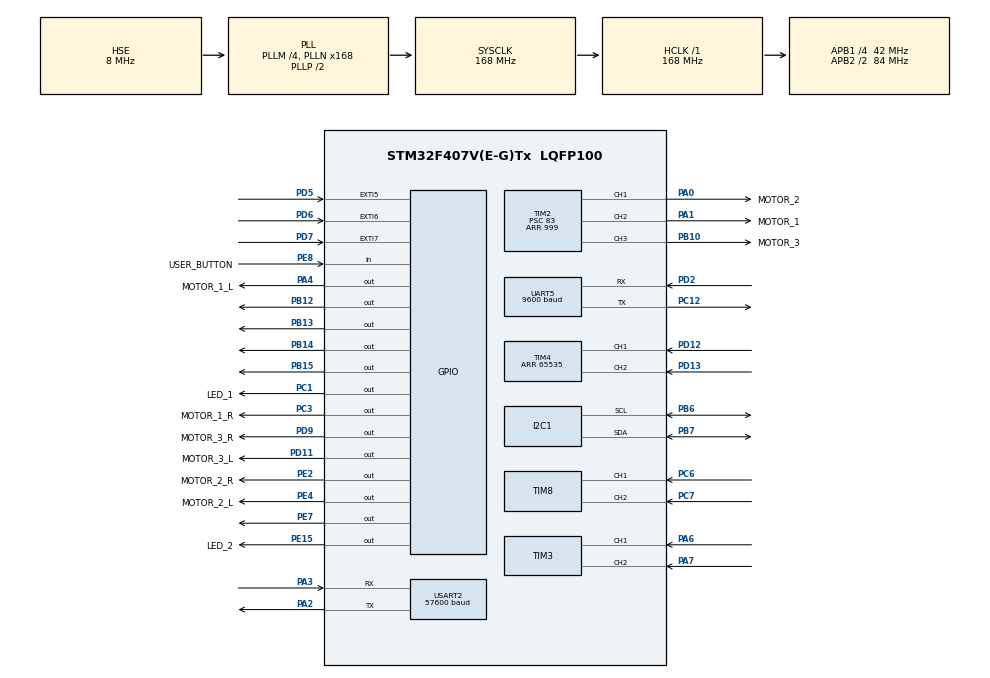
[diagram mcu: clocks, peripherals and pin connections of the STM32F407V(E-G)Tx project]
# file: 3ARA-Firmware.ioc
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Mcu.Family=STM32F4
PH0-OSC_IN.Signal=RCC_OSC_IN
RCC.CortexFreq_Value=168000000
PC12.Signal=UART5_TX
TIM2.Channel-PWM\ Generation2\ CH2=TIM_CHANNEL_2
PB13.Signal=GPIO_Output
PB15.Signal=GPIO_Output
RCC.SYSCLKSource=RCC_SYSCLKSOURCE_PLLCLK
ProjectManager.StackSize=0x400
PD13.Signal=S_TIM4_CH2
PD11.GPIO_Label=MOTOR_3_L
RCC.HCLKFreq_Value=168000000
RCC.APB2TimFreq_Value=168000000
PB6.Signal=I2C1_SCL
PC7.Signal=S_TIM8_CH2
PB6.Mode=I2C
PC3.Signal=GPIO_Output
RCC.AHBFreq_Value=168000000
PH0-OSC_IN.Mode=HSE-External-Oscillator
RCC.HSE_VALUE=8000000
PA14.Mode=Serial_Wire
VP_SYS_VS_tim1.Mode=TIM1
PE4.GPIO_Label=MOTOR_2_L
SH.S_TIM4_CH2.0=TIM4_CH2,Encoder_Interface
PE2.Signal=GPIO_Output
PB7.Signal=I2C1_SDA
TIM2.Channel-PWM\ Generation1\ CH1=TIM_CHANNEL_1
SH.S_TIM3_CH1.0=TIM3_CH1,Encoder_Interface
TIM4.Period=65535
VP_FREERTOS_VS_CMSIS_V1.Mode=CMSIS_V1
PE4.Signal=GPIO_Output
PH1-OSC_OUT.Mode=HSE-External-Oscillator
Mcu.Package=LQFP100
TIM2.Prescaler=83
PA6.Signal=S_TIM3_CH1
NVIC.TimeBase=TIM1_UP_TIM10_IRQn
PD6.GPIO_ModeDefaultEXTI=GPIO_MODE_IT_FALLING
USART2.VirtualMode=VM_ASYNC
PD12.Signal=S_TIM4_CH1
NVIC.TimeBaseIP=TIM1
TIM4.IC1Filter=0
RCC.APB2CLKDivider=RCC_HCLK_DIV2
SH.S_TIM4_CH1.0=TIM4_CH1,Encoder_Interface
RCC.APB1TimFreq_Value=84000000
UART5.BaudRate=9600
PE7.Signal=GPIO_Output
PD6.Signal=GPXTI6
PA4.GPIO_Label=MOTOR_1_L
PE2.GPIO_Label=MOTOR_2_R
PA3.Signal=USART2_RX
RCC.PLLSourceVirtual=RCC_PLLSOURCE_HSE
FREERTOS.Tasks01=defaultTask,0,256,StartDefaultTask,Default,NULL,Dynamic,NULL,NULL;taskPID1,-3,512,startPID1,Default,NULL,Dynamic,NULL,NULL;taskPID2,-3,512,startPID2,Default,NULL,Dynamic,NULL,NULL;taskPID3,0,512,startPID3,Default,NULL,Dynamic,NULL,NULL;ROSComms,0,1024,startROSComms,Default,NULL,Dynamic,NULL,NULL
PD9.GPIO_Label=MOTOR_3_R
PC6.Signal=S_TIM8_CH1
PD7.Signal=GPXTI7
PD9.Signal=GPIO_Output
PD5.Signal=GPXTI5
TIM4.IC2Filter=0
UART5.VirtualMode=Asynchronous
RCC.APB1CLKDivider=RCC_HCLK_DIV4
NVIC.USART2_IRQn=true\:5\:0\:false\:false\:true\:false\:true\:true
USART2.BaudRate=57600
SH.S_TIM8_CH2.0=TIM8_CH2,Encoder_Interface
PA0-WKUP.GPIO_Label=MOTOR_2
PA0-WKUP.Signal=S_TIM2_CH1_ETR
PA3.Mode=Asynchronous
PA13.Signal=SYS_JTMS-SWDIO
SH.S_TIM2_CH2.0=TIM2_CH2,PWM Generation2 CH2
PE15.GPIO_Label=LED_2
ProjectManager.TargetToolchain=STM32CubeIDE
PB10.GPIO_Label=MOTOR_3
PE8.GPIO_Label=USER_BUTTON
RCC.LSE_VALUE=32768
PA1.Signal=S_TIM2_CH2
PB10.Signal=S_TIM2_CH3
PB14.Signal=GPIO_Output
PD2.Mode=Asynchronous
SH.S_TIM3_CH2.0=TIM3_CH2,Encoder_Interface
PC12.Mode=Asynchronous
SH.S_TIM8_CH1.0=TIM8_CH1,Encoder_Interface
board=custom
RCC.VCOOutputFreq_Value=336000000
RCC.APB2Freq_Value=84000000
PE15.Signal=GPIO_Output
SH.S_TIM2_CH3.0=TIM2_CH3,PWM Generation3 CH3
PE8.Signal=GPIO_Input
PC1.GPIO_Label=LED_1
PA1.GPIO_Label=MOTOR_1
TIM2.Channel-PWM\ Generation3\ CH3=TIM_CHANNEL_3
PH1-OSC_OUT.Signal=RCC_OSC_OUT
TIM2.Period=999
PA13.Mode=Serial_Wire
PD7.GPIO_ModeDefaultEXTI=GPIO_MODE_IT_FALLING
Mcu.Name=STM32F407V(E-G)Tx
PA2.Signal=USART2_TX
RCC.48MHZClocksFreq_Value=84000000
PA4.Signal=GPIO_Output
RCC.SYSCLKFreq_VALUE=168000000
PD11.Signal=GPIO_Output
PB7.Mode=I2C
SH.S_TIM2_CH1_ETR.0=TIM2_CH1,PWM Generation1 CH1
NVIC.EXTI9_5_IRQn=true\:5\:0\:false\:false\:true\:true\:true\:true
PA14.Signal=SYS_JTCK-SWCLK
ProjectManager.HeapSize=0x200
NVIC.TIM1_UP_TIM10_IRQn=true\:0\:0\:false\:false\:true\:false\:false\:true
RCC.HSI_VALUE=16000000
FREERTOS.Mutexes01=mutex,Dynamic,NULL
NVIC.PriorityGroup=NVIC_PRIORITYGROUP_4
RCC.PLLM=4
RCC.PLLN=168
PA2.Mode=Asynchronous
PD5.GPIO_ModeDefaultEXTI=GPIO_MODE_IT_FALLING
PC3.GPIO_Label=MOTOR_1_R
PD2.Signal=UART5_RX
RCC.APB1Freq_Value=42000000
PC1.Signal=GPIO_Output
PB12.Signal=GPIO_Output
TIM8.CounterMode=TIM_COUNTERMODE_UP
PA7.Signal=S_TIM3_CH2

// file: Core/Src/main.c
/* USER CODE BEGIN Header */
/**
  ******************************************************************************
  * @file           : main.c
  * @brief          : Main program body
  ******************************************************************************
  * @attention
  *
  * <h2><center>&copy; Copyright (c) 2021 STMicroelectronics.
  * All rights reserved.</center></h2>
  *
  * This software component is licensed by ST under BSD 3-Clause license,
  * the "License"; You may not use this file except in compliance with the
  * License. You may obtain a copy of the License at:
  *                        opensource.org/licenses/BSD-3-Clause
  *
  ******************************************************************************
  */
/* USER CODE END Header */
#include "main.h"
#include "cmsis_os.h"
#include "i2c.h"
#include "tim.h"
#include "usart.h"
#include "gpio.h"

void SystemClock_Config(void);
void MX_FREERTOS_Init(void);

int main(void)
{

  /* MCU Configuration--------------------------------------------------------*/

  /* Reset of all peripherals, Initializes the Flash interface and the Systick. */
  HAL_Init();

  /* Configure the system clock */
  SystemClock_Config();

  /* Initialize all configured peripherals */
  MX_GPIO_Init();
  MX_USART2_UART_Init();
  MX_TIM4_Init();
  MX_TIM2_Init();
  MX_TIM3_Init();
  MX_TIM8_Init();
  MX_UART5_Init();
  MX_I2C1_Init();

  /* Call init function for freertos objects (in freertos.c) */
  MX_FREERTOS_Init();
  /* Start scheduler */
  osKernelStart();

  /* We should never get here as control is now taken by the scheduler */
  /* Infinite loop */
  while (1)
  {

  }
}

void SystemClock_Config(void)
{
  RCC_OscInitTypeDef RCC_OscInitStruct = {0};
  RCC_ClkInitTypeDef RCC_ClkInitStruct = {0};

  /** Configure the main internal regulator output voltage
  */
  __HAL_RCC_PWR_CLK_ENABLE();
  __HAL_PWR_VOLTAGESCALING_CONFIG(PWR_REGULATOR_VOLTAGE_SCALE1);
  /** Initializes the RCC Oscillators according to the specified parameters
  * in the RCC_OscInitTypeDef structure.
  */
  RCC_OscInitStruct.OscillatorType = RCC_OSCILLATORTYPE_HSE;
  RCC_OscInitStruct.HSEState = RCC_HSE_ON;
  RCC_OscInitStruct.PLL.PLLState = RCC_PLL_ON;
  RCC_OscInitStruct.PLL.PLLSource = RCC_PLLSOURCE_HSE;
  RCC_OscInitStruct.PLL.PLLM = 4;
  RCC_OscInitStruct.PLL.PLLN = 168;
  RCC_OscInitStruct.PLL.PLLP = RCC_PLLP_DIV2;
  RCC_OscInitStruct.PLL.PLLQ = 4;
  if (HAL_RCC_OscConfig(&RCC_OscInitStruct) != HAL_OK)
  {
    Error_Handler();
  }
  /** Initializes the CPU, AHB and APB buses clocks
  */
  RCC_ClkInitStruct.ClockType = RCC_CLOCKTYPE_HCLK|RCC_CLOCKTYPE_SYSCLK
                              |RCC_CLOCKTYPE_PCLK1|RCC_CLOCKTYPE_PCLK2;
  RCC_ClkInitStruct.SYSCLKSource = RCC_SYSCLKSOURCE_PLLCLK;
  RCC_ClkInitStruct.AHBCLKDivider = RCC_SYSCLK_DIV1;
  RCC_ClkInitStruct.APB1CLKDivider = RCC_HCLK_DIV4;
  RCC_ClkInitStruct.APB2CLKDivider = RCC_HCLK_DIV2;

  if (HAL_RCC_ClockConfig(&RCC_ClkInitStruct, FLASH_LATENCY_5) != HAL_OK)
  {
    Error_Handler();
  }
}

 /**
  * @brief  Period elapsed callback in non blocking mode
  * @note   This function is called  when TIM1 interrupt took place, inside
  * HAL_TIM_IRQHandler(). It makes a direct call to HAL_IncTick() to increment
  * a global variable "uwTick" used as application time base.
  * @param  htim : TIM handle
  * @retval None
  */
void HAL_TIM_PeriodElapsedCallback(TIM_HandleTypeDef *htim)
{
  if (htim->Instance == TIM1) {
    HAL_IncTick();
  }
}

void Error_Handler(void)
{
}

/************************ (C) COPYRIGHT STMicroelectronics *****END OF FILE****/

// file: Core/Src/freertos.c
/* USER CODE BEGIN Header */
/**
  ******************************************************************************
  * File Name          : freertos.c
  * Description        : Code for freertos applications
  ******************************************************************************
  * @attention
  *
  * <h2><center>&copy; Copyright (c) 2021 STMicroelectronics.
  * All rights reserved.</center></h2>
  *
  * This software component is licensed by ST under Ultimate Liberty license
  * SLA0044, the "License"; You may not use this file except in compliance with
  * the License. You may obtain a copy of the License at:
  *                             www.st.com/SLA0044
  *
  ******************************************************************************
  */
/* USER CODE END Header */

#include "FreeRTOS.h"
#include "task.h"
#include "main.h"
#include "cmsis_os.h"

/* USER CODE BEGIN Includes */
#include "3ARAEntrypoint.h"
#include "3ARAInfo.h"
/* USER CODE END Includes */

/* USER CODE BEGIN Variables */
RobotInfoHandler robot_info_handler;
extern int hall_1_flag;
extern int hall_2_flag;
extern int hall_3_flag;

/* USER CODE END Variables */
osThreadId defaultTaskHandle;
osThreadId taskPID1Handle;
osThreadId taskPID2Handle;
osThreadId taskPID3Handle;
osThreadId ROSCommsHandle;
osMutexId mutexHandle;

void StartDefaultTask(void const * argument);
void startPID1(void const * argument);
void startPID2(void const * argument);
void startPID3(void const * argument);
void startROSComms(void const * argument);

void MX_FREERTOS_Init(void); /* (MISRA C 2004 rule 8.1) */

/* GetIdleTaskMemory prototype (linked to static allocation support) */
void vApplicationGetIdleTaskMemory( StaticTask_t **ppxIdleTaskTCBBuffer, StackType_t **ppxIdleTaskStackBuffer, uint32_t *pulIdleTaskStackSize );

/* USER CODE BEGIN GET_IDLE_TASK_MEMORY */
static StaticTask_t xIdleTaskTCBBuffer;
static StackType_t xIdleStack[configMINIMAL_STACK_SIZE];

void vApplicationGetIdleTaskMemory( StaticTask_t **ppxIdleTaskTCBBuffer, StackType_t **ppxIdleTaskStackBuffer, uint32_t *pulIdleTaskStackSize )
{
  *ppxIdleTaskTCBBuffer = &xIdleTaskTCBBuffer;
  *ppxIdleTaskStackBuffer = &xIdleStack[0];
  *pulIdleTaskStackSize = configMINIMAL_STACK_SIZE;
  /* place for user code */
}
/* USER CODE END GET_IDLE_TASK_MEMORY */

void MX_FREERTOS_Init(void) {
  /* Create the mutex(es) */
  /* definition and creation of mutex */
  osMutexDef(mutex);
  mutexHandle = osMutexCreate(osMutex(mutex));

  /* Create the thread(s) */
  /* definition and creation of defaultTask */
  osThreadDef(defaultTask, StartDefaultTask, osPriorityNormal, 0, 256);
  defaultTaskHandle = osThreadCreate(osThread(defaultTask), NULL);

  /* definition and creation of taskPID1 */
  osThreadDef(taskPID1, startPID1, osPriorityIdle, 0, 512);
  taskPID1Handle = osThreadCreate(osThread(taskPID1), NULL);

  /* definition and creation of taskPID2 */
  osThreadDef(taskPID2, startPID2, osPriorityIdle, 0, 512);
  taskPID2Handle = osThreadCreate(osThread(taskPID2), NULL);

  /* definition and creation of taskPID3 */
  osThreadDef(taskPID3, startPID3, osPriorityNormal, 0, 512);
  taskPID3Handle = osThreadCreate(osThread(taskPID3), NULL);

  /* definition and creation of ROSComms */
  osThreadDef(ROSComms, startROSComms, osPriorityNormal, 0, 1024);
  ROSCommsHandle = osThreadCreate(osThread(ROSComms), NULL);

}

void StartDefaultTask(void const * argument)
{
  /* USER CODE BEGIN StartDefaultTask */
  /* Infinite loop */
  for(;;)
  {
	HAL_GPIO_TogglePin(LED_2_GPIO_Port, LED_2_Pin);
    osDelay(2000);
  }
  /* USER CODE END StartDefaultTask */
}

void startPID1(void const * argument)
{
  /* USER CODE BEGIN startPID1 */
	PID1Node(&robot_info_handler);
  /* Infinite loop */
  for(;;)
  {
    osDelay(1000);
  }
  /* USER CODE END startPID1 */
}

void startPID2(void const * argument)
{
  /* USER CODE BEGIN startPID2 */
	PID2Node(&robot_info_handler);
  /* Infinite loop */
  for(;;)
  {
    osDelay(1000);
  }
  /* USER CODE END startPID2 */
}

void startPID3(void const * argument)
{
  /* USER CODE BEGIN startPID3 */
	PID3Node(&robot_info_handler);
  /* Infinite loop */
  for(;;)
  {
    osDelay(1000);
  }
  /* USER CODE END startPID3 */
}

void startROSComms(void const * argument)
{
  /* USER CODE BEGIN startROSComms */
	robotInfoInit(&robot_info_handler, &mutexHandle);
	startSerialComms(&robot_info_handler);
  /* Infinite loop */
  for(;;)
  {
	osDelay(1);
  }
  /* USER CODE END startROSComms */
}

/* USER CODE BEGIN Application */
// Callback function for external gpio interrupt
void HAL_GPIO_EXTI_Callback(uint16_t GPIO_Pin){
	if(GPIO_Pin == GPIO_PIN_6){
		hall_2_flag = 1;
	}
	else if(GPIO_Pin == GPIO_PIN_5){
		hall_3_flag = 1;
	}
	else if(GPIO_Pin == GPIO_PIN_7){
		hall_1_flag = 1;
	}
}
/* USER CODE END Application */

/************************ (C) COPYRIGHT STMicroelectronics *****END OF FILE****/
